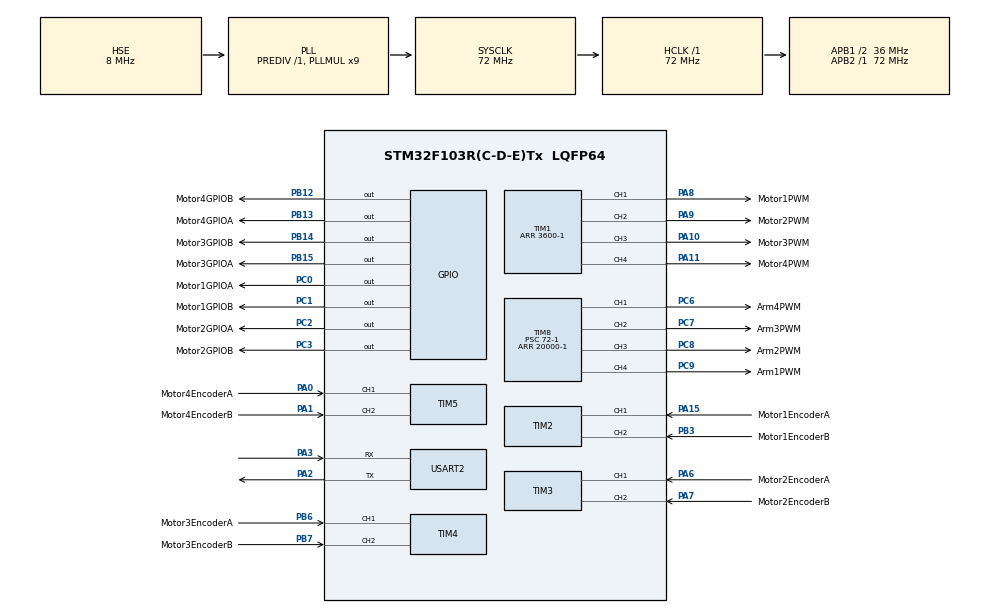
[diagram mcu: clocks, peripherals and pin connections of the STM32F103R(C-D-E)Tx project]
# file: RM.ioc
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Dma.Request0=USART2_RX
Dma.USART2_RX.0.Direction=DMA_PERIPH_TO_MEMORY
Dma.USART2_RX.0.Instance=DMA1_Channel6
Dma.USART2_RX.0.MemDataAlignment=DMA_MDATAALIGN_BYTE
Dma.USART2_RX.0.MemInc=DMA_MINC_ENABLE
Dma.USART2_RX.0.Mode=DMA_CIRCULAR
Dma.USART2_RX.0.PeriphDataAlignment=DMA_PDATAALIGN_BYTE
Dma.USART2_RX.0.PeriphInc=DMA_PINC_DISABLE
Dma.USART2_RX.0.Priority=DMA_PRIORITY_MEDIUM
FREERTOS.INCLUDE_vTaskDelayUntil=1
FREERTOS.Tasks01=MotorTask,2,256,StartMotorTask,As weak,NULL,Dynamic,NULL,NULL;ArmTask,1,256,StartArmTask,As weak,NULL,Dynamic,NULL,NULL;CommTask,0,256,StartCommTask,As weak,NULL,Dynamic,NULL,NULL
FREERTOS.configTOTAL_HEAP_SIZE=8192
FREERTOS.configUSE_NEWLIB_REENTRANT=1
Mcu.Family=STM32F1
Mcu.Name=STM32F103R(C-D-E)Tx
Mcu.Package=LQFP64
NVIC.DMA1_Channel6_IRQn=true\:5\:0\:false\:false\:true\:true\:false\:true\:true
NVIC.PriorityGroup=NVIC_PRIORITYGROUP_4
NVIC.TIM6_IRQn=true\:15\:0\:false\:false\:true\:false\:false\:true\:true
NVIC.TimeBase=TIM6_IRQn
NVIC.TimeBaseIP=TIM6
PA0-WKUP.GPIO_Label=Motor4EncoderA
PA0-WKUP.Signal=S_TIM5_CH1
PA1.GPIO_Label=Motor4EncoderB
PA1.Signal=S_TIM5_CH2
PA10.GPIO_Label=Motor3PWM
PA10.Signal=S_TIM1_CH3
PA11.GPIO_Label=Motor4PWM
PA11.Signal=S_TIM1_CH4
PA13.Mode=Serial_Wire
PA13.Signal=SYS_JTMS-SWDIO
PA14.Mode=Serial_Wire
PA14.Signal=SYS_JTCK-SWCLK
PA15.GPIO_Label=Motor1EncoderA
PA15.Signal=S_TIM2_CH1_ETR
PA2.Mode=Asynchronous
PA2.Signal=USART2_TX
PA3.Mode=Asynchronous
PA3.Signal=USART2_RX
PA6.GPIO_Label=Motor2EncoderA
PA6.Signal=S_TIM3_CH1
PA7.GPIO_Label=Motor2EncoderB
PA7.Signal=S_TIM3_CH2
PA8.GPIO_Label=Motor1PWM
PA8.Signal=S_TIM1_CH1
PA9.GPIO_Label=Motor2PWM
PA9.Signal=S_TIM1_CH2
PB12.GPIO_Label=Motor4GPIOB
PB12.Signal=GPIO_Output
PB13.GPIO_Label=Motor4GPIOA
PB13.Signal=GPIO_Output
PB14.GPIO_Label=Motor3GPIOB
PB14.Signal=GPIO_Output
PB15.GPIO_Label=Motor3GPIOA
PB15.Signal=GPIO_Output
PB3.GPIO_Label=Motor1EncoderB
PB3.Signal=S_TIM2_CH2
PB6.GPIO_Label=Motor3EncoderA
PB6.Signal=S_TIM4_CH1
PB7.GPIO_Label=Motor3EncoderB
PB7.Signal=S_TIM4_CH2
PC0.GPIO_Label=Motor1GPIOA
PC0.Signal=GPIO_Output
PC1.GPIO_Label=Motor1GPIOB
PC1.Signal=GPIO_Output
PC2.GPIO_Label=Motor2GPIOA
PC2.Signal=GPIO_Output
PC3.GPIO_Label=Motor2GPIOB
PC3.Signal=GPIO_Output
PC6.GPIO_Label=Arm4PWM
PC6.Signal=S_TIM8_CH1
PC7.GPIO_Label=Arm3PWM
PC7.Signal=S_TIM8_CH2
PC8.GPIO_Label=Arm2PWM
PC8.Signal=S_TIM8_CH3
PC9.GPIO_Label=Arm1PWM
PC9.Signal=S_TIM8_CH4
PD0-OSC_IN.Mode=HSE-External-Oscillator
PD0-OSC_IN.Signal=RCC_OSC_IN
PD1-OSC_OUT.Mode=HSE-External-Oscillator
PD1-OSC_OUT.Signal=RCC_OSC_OUT
ProjectManager.HeapSize=0x200
ProjectManager.StackSize=0x400
ProjectManager.TargetToolchain=STM32CubeIDE
RCC.AHBFreq_Value=72000000
RCC.APB1CLKDivider=RCC_HCLK_DIV2
RCC.APB1Freq_Value=36000000
RCC.APB1TimFreq_Value=72000000
RCC.APB2Freq_Value=72000000
RCC.APB2TimFreq_Value=72000000
RCC.HCLKFreq_Value=72000000
RCC.PLLMUL=RCC_PLL_MUL9
RCC.PLLSourceVirtual=RCC_PLLSOURCE_HSE
RCC.SYSCLKFreq_VALUE=72000000
RCC.SYSCLKSource=RCC_SYSCLKSOURCE_PLLCLK
RCC.USBFreq_Value=72000000
SH.S_TIM1_CH1.0=TIM1_CH1,PWM Generation1 CH1
SH.S_TIM1_CH2.0=TIM1_CH2,PWM Generation2 CH2
SH.S_TIM1_CH3.0=TIM1_CH3,PWM Generation3 CH3
SH.S_TIM1_CH4.0=TIM1_CH4,PWM Generation4 CH4
SH.S_TIM2_CH1_ETR.0=TIM2_CH1,Encoder_Interface
SH.S_TIM2_CH2.0=TIM2_CH2,Encoder_Interface
SH.S_TIM3_CH1.0=TIM3_CH1,Encoder_Interface
SH.S_TIM3_CH2.0=TIM3_CH2,Encoder_Interface
SH.S_TIM4_CH1.0=TIM4_CH1,Encoder_Interface
SH.S_TIM4_CH2.0=TIM4_CH2,Encoder_Interface
SH.S_TIM5_CH1.0=TIM5_CH1,Encoder_Interface
SH.S_TIM5_CH2.0=TIM5_CH2,Encoder_Interface
SH.S_TIM8_CH1.0=TIM8_CH1,PWM Generation1 CH1
SH.S_TIM8_CH2.0=TIM8_CH2,PWM Generation2 CH2
SH.S_TIM8_CH3.0=TIM8_CH3,PWM Generation3 CH3
SH.S_TIM8_CH4.0=TIM8_CH4,PWM Generation4 CH4
TIM1.Channel-PWM\ Generation1\ CH1=TIM_CHANNEL_1
TIM1.Channel-PWM\ Generation2\ CH2=TIM_CHANNEL_2
TIM1.Channel-PWM\ Generation3\ CH3=TIM_CHANNEL_3
TIM1.Channel-PWM\ Generation4\ CH4=TIM_CHANNEL_4
TIM1.Period=3600-1
TIM2.EncoderMode=TIM_ENCODERMODE_TI12
TIM2.IC1Filter=5
TIM2.IC2Filter=5
TIM3.EncoderMode=TIM_ENCODERMODE_TI12
TIM3.IC1Filter=5
TIM3.IC2Filter=5
TIM4.EncoderMode=TIM_ENCODERMODE_TI12
TIM4.IC1Filter=5
TIM4.IC2Filter=5
TIM5.EncoderMode=TIM_ENCODERMODE_TI12
TIM5.IC1Filter=5
TIM5.IC2Filter=5
TIM8.Channel-PWM\ Generation1\ CH1=TIM_CHANNEL_1
TIM8.Channel-PWM\ Generation2\ CH2=TIM_CHANNEL_2
TIM8.Channel-PWM\ Generation3\ CH3=TIM_CHANNEL_3
TIM8.Channel-PWM\ Generation4\ CH4=TIM_CHANNEL_4
TIM8.Period=20000-1
TIM8.Prescaler=72-1
TIM8.Pulse-PWM\ Generation1\ CH1=1500
TIM8.Pulse-PWM\ Generation2\ CH2=1500
TIM8.Pulse-PWM\ Generation3\ CH3=1500
TIM8.Pulse-PWM\ Generation4\ CH4=1500
USART2.VirtualMode=VM_ASYNC
VP_FREERTOS_VS_CMSIS_V1.Mode=CMSIS_V1
VP_SYS_VS_tim6.Mode=TIM6
board=custom

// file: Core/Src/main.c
/* USER CODE BEGIN Header */
/**
  ******************************************************************************
  * @file           : main.c
  * @brief          : Main program body
  ******************************************************************************
  * @attention
  *
  * Copyright (c) 2026 STMicroelectronics.
  * All rights reserved.
  *
  * This software is licensed under terms that can be found in the LICENSE file
  * in the root directory of this software component.
  * If no LICENSE file comes with this software, it is provided AS-IS.
  *
  ******************************************************************************
  */
/* USER CODE END Header */
#include "main.h"
#include "cmsis_os.h"
#include "dma.h"
#include "tim.h"
#include "usart.h"
#include "gpio.h"

/* USER CODE BEGIN Includes */
/* 用户代码按任务职责分目录放在 Core/user/ 下；CMake 只把 Core/Inc 加进了头文件搜索路径，
   而 CMakeLists.txt 是自动生成的不便修改，所以这里用相对路径包含。 */
#include "../user/common/control_time.h"
#include "../user/motor/motor.h"
#include "../user/arm/servo_arm.h"
#include "../user/comm/comm.h"
/* USER CODE END Includes */

void SystemClock_Config(void);
void MX_FREERTOS_Init(void);

int main(void)
{

  /* MCU Configuration--------------------------------------------------------*/

  /* Reset of all peripherals, Initializes the Flash interface and the Systick. */
  HAL_Init();

  /* Configure the system clock */
  SystemClock_Config();

  /* Initialize all configured peripherals */
  MX_GPIO_Init();
  MX_DMA_Init();
  MX_TIM1_Init();
  MX_TIM2_Init();
  MX_TIM3_Init();
  MX_TIM4_Init();
  MX_TIM5_Init();
  MX_USART2_UART_Init();
  MX_TIM8_Init();
  /* USER CODE BEGIN 2 */
  /* 1. 高精度时间戳（DWT）：必须在任何 ControlTime_Mark 之前调用 */
  ControlTime_Init(HAL_RCC_GetHCLKFreq());

  /* 2. 电机：启动 TIM1 四路 PWM 与 TIM2..5 编码器，方向/PWM 归零 */
  Motor_Init();

  /* 3. 舵机：启动 TIM8 四路 50Hz PWM，全部回中位
        前提：MX 里已配置 TIM8（PC6..PC9, PSC=71, ARR=19999），
        否则 servo_arm.h 的 SERVO_HW_ENABLED 要先置 0 */
  Servo_Init();

  /* 4. 串口：创建接收缓冲、改写 USART2 中断优先级并启动接收 */
  Comm_Init();
  /* USER CODE END 2 */

  /* Call init function for freertos objects (in cmsis_os2.c) */
  MX_FREERTOS_Init();

  /* Start scheduler */
  osKernelStart();

  /* We should never get here as control is now taken by the scheduler */

  /* Infinite loop */
  while (1)
  {

  }
}

void SystemClock_Config(void)
{
  RCC_OscInitTypeDef RCC_OscInitStruct = {0};
  RCC_ClkInitTypeDef RCC_ClkInitStruct = {0};

  /** Initializes the RCC Oscillators according to the specified parameters
  * in the RCC_OscInitTypeDef structure.
  */
  RCC_OscInitStruct.OscillatorType = RCC_OSCILLATORTYPE_HSE;
  RCC_OscInitStruct.HSEState = RCC_HSE_ON;
  RCC_OscInitStruct.HSEPredivValue = RCC_HSE_PREDIV_DIV1;
  RCC_OscInitStruct.HSIState = RCC_HSI_ON;
  RCC_OscInitStruct.PLL.PLLState = RCC_PLL_ON;
  RCC_OscInitStruct.PLL.PLLSource = RCC_PLLSOURCE_HSE;
  RCC_OscInitStruct.PLL.PLLMUL = RCC_PLL_MUL9;
  if (HAL_RCC_OscConfig(&RCC_OscInitStruct) != HAL_OK)
  {
    Error_Handler();
  }

  /** Initializes the CPU, AHB and APB buses clocks
  */
  RCC_ClkInitStruct.ClockType = RCC_CLOCKTYPE_HCLK|RCC_CLOCKTYPE_SYSCLK
                              |RCC_CLOCKTYPE_PCLK1|RCC_CLOCKTYPE_PCLK2;
  RCC_ClkInitStruct.SYSCLKSource = RCC_SYSCLKSOURCE_PLLCLK;
  RCC_ClkInitStruct.AHBCLKDivider = RCC_SYSCLK_DIV1;
  RCC_ClkInitStruct.APB1CLKDivider = RCC_HCLK_DIV2;
  RCC_ClkInitStruct.APB2CLKDivider = RCC_HCLK_DIV1;

  if (HAL_RCC_ClockConfig(&RCC_ClkInitStruct, FLASH_LATENCY_2) != HAL_OK)
  {
    Error_Handler();
  }
}

void HAL_TIM_PeriodElapsedCallback(TIM_HandleTypeDef *htim)
{
  if (htim->Instance == TIM6)
  {
    HAL_IncTick();
  }
}

void Error_Handler(void)
{
  __disable_irq();
  while (1)
  {
  }
}

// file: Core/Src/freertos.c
/* USER CODE BEGIN Header */
/**
  ******************************************************************************
  * File Name          : freertos.c
  * Description        : Code for freertos applications
  ******************************************************************************
  * @attention
  *
  * Copyright (c) 2026 STMicroelectronics.
  * All rights reserved.
  *
  * This software is licensed under terms that can be found in the LICENSE file
  * in the root directory of this software component.
  * If no LICENSE file comes with this software, it is provided AS-IS.
  *
  ******************************************************************************
  */
/* USER CODE END Header */

#include "FreeRTOS.h"
#include "task.h"
#include "main.h"
#include "cmsis_os.h"

/* USER CODE BEGIN Includes */
/* 用户代码目录：Core/user/{common,motor,arm,comm}/，用相对路径包含（原因见 main.c） */
#include "../user/common/control_time.h"
#include "../user/motor/motor.h"
#include "../user/arm/servo_arm.h"
#include "../user/comm/comm.h"
/* USER CODE END Includes */

/* USER CODE BEGIN Variables */
/* CommTaskHandle 已由 CubeMX 生成（见下面 osThreadId 列表），这里不要再声明一次 */
/* USER CODE END Variables */
osThreadId MotorTaskHandle;
osThreadId ArmTaskHandle;
osThreadId CommTaskHandle;

/* USER CODE BEGIN FunctionPrototypes */
/* StartCommTask 的原型已由 CubeMX 生成，这里不要再声明一次 */
/* USER CODE END FunctionPrototypes */

void StartMotorTask(void const * argument);
void StartArmTask(void const * argument);
void StartCommTask(void const * argument);

void MX_FREERTOS_Init(void); /* (MISRA C 2004 rule 8.1) */

/* GetIdleTaskMemory prototype (linked to static allocation support) */
void vApplicationGetIdleTaskMemory( StaticTask_t **ppxIdleTaskTCBBuffer, StackType_t **ppxIdleTaskStackBuffer, uint32_t *pulIdleTaskStackSize );

/* USER CODE BEGIN GET_IDLE_TASK_MEMORY */
static StaticTask_t xIdleTaskTCBBuffer;
static StackType_t xIdleStack[configMINIMAL_STACK_SIZE];

void vApplicationGetIdleTaskMemory( StaticTask_t **ppxIdleTaskTCBBuffer, StackType_t **ppxIdleTaskStackBuffer, uint32_t *pulIdleTaskStackSize )
{
  *ppxIdleTaskTCBBuffer = &xIdleTaskTCBBuffer;
  *ppxIdleTaskStackBuffer = &xIdleStack[0];
  *pulIdleTaskStackSize = configMINIMAL_STACK_SIZE;
  /* place for user code */
}
/* USER CODE END GET_IDLE_TASK_MEMORY */

void MX_FREERTOS_Init(void) {

  /* Create the thread(s) */
  /* definition and creation of MotorTask */
  osThreadDef(MotorTask, StartMotorTask, osPriorityHigh, 0, 256);
  MotorTaskHandle = osThreadCreate(osThread(MotorTask), NULL);

  /* definition and creation of ArmTask */
  osThreadDef(ArmTask, StartArmTask, osPriorityAboveNormal, 0, 256);
  ArmTaskHandle = osThreadCreate(osThread(ArmTask), NULL);

  /* definition and creation of CommTask */
  osThreadDef(CommTask, StartCommTask, osPriorityNormal, 0, 256);
  CommTaskHandle = osThreadCreate(osThread(CommTask), NULL);

  /* USER CODE BEGIN RTOS_THREADS */
  /* CommTask 的 osThreadDef / osThreadCreate 已经由 CubeMX 在上面的
     "definition and creation of CommTask" 里生成（优先级 osPriorityNormal，栈 256 字 = 1KB），
     这里千万不要再写一遍，否则会报 os_thread_def_CommTask 重复定义。

     下面只做一件事：任务创建失败会静默返回 NULL（堆不够时最常见），这里明确报出来。
     调试时可以把任意一个改成 Error_Handler() 直接停机，避免"半个机器人"跑起来。 */
  if (MotorTaskHandle == NULL) { Comm_LogLine("FATAL: MotorTask create failed (heap?)"); }
  if (ArmTaskHandle   == NULL) { Comm_LogLine("FATAL: ArmTask create failed (heap?)"); }
  if (CommTaskHandle  == NULL) { Comm_LogLine("FATAL: CommTask create failed (heap?)"); }
  /* USER CODE END RTOS_THREADS */

}

__weak void StartMotorTask(void const * argument)
{
  for(;;)
  {
    osDelay(1);
  }
}

__weak void StartArmTask(void const * argument)
{
  for(;;)
  {
    osDelay(1);
  }
}

__weak void StartCommTask(void const * argument)
{
  for(;;)
  {
    osDelay(1);
  }
}
